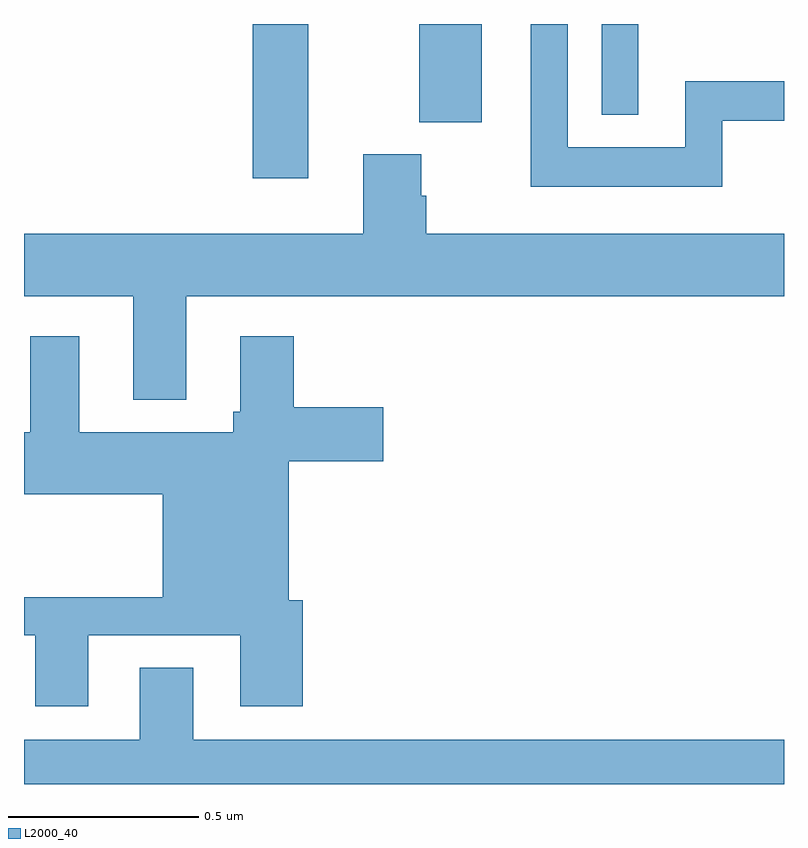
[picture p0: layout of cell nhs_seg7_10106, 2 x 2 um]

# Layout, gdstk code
import gdstk
lib = gdstk.Library(unit=1e-6, precision=1e-09)
def R(c, l, rs):  # rectangles x0, y0, x1, y1
    for r in rs: c.add(gdstk.rectangle(r[:2], r[2:], *l))
def P(c, l, *ps):  # polygons
    for p in ps: c.add(gdstk.Polygon(p, *l))
L2000_40 = (2000, 40)

nhs_seg7_10106 = lib.new_cell('nhs_seg7_10106')
R(nhs_seg7_10106, L2000_40, [(246.602,999.594,246.748,1000), (247.04,999.742,247.204,1000), (247.521,999.761,247.617,1000)])
P(nhs_seg7_10106, L2000_40, [(247.838,999.746),(248,999.746),(248,999.85),(247.74,999.85),(247.74,999.676),(247.431,999.676),(247.431,1000),(247.334,1000),(247.334,999.572),(247.838,999.572)],
  [(246.427,999.284),(248,999.284),(248,999.448),(247.058,999.448),(247.058,999.548),(247.045,999.548),(247.045,999.657),(246.893,999.657),(246.893,999.448),(246,999.448),(246,999.284),(246.287,999.284),(246.287,999.011),(246.427,999.011)],
  [(246.169,998.391),(246.569,998.391),(246.569,998.205),(246.734,998.205),(246.734,998.484),(246.697,998.484),(246.697,998.849),(246.946,998.849),(246.946,998.991),(246.71,998.991),(246.71,999.178),(246.569,999.178),(246.569,998.979),(246.55,998.979),(246.55,998.926),(246.145,998.926),(246.145,999.178),(246.017,999.178),(246.017,998.926),(246,998.926),(246,998.762),(246.365,998.762),(246.365,998.492),(246,998.492),(246,998.391),(246.029,998.391),(246.029,998.205),(246.169,998.205)],
  [(248,998.116),(246.445,998.116),(246.445,998.306),(246.305,998.306),(246.305,998.116),(246,998.116),(246,998),(248,998)])

lib.write_gds('nhs_seg7_10106.gds')
